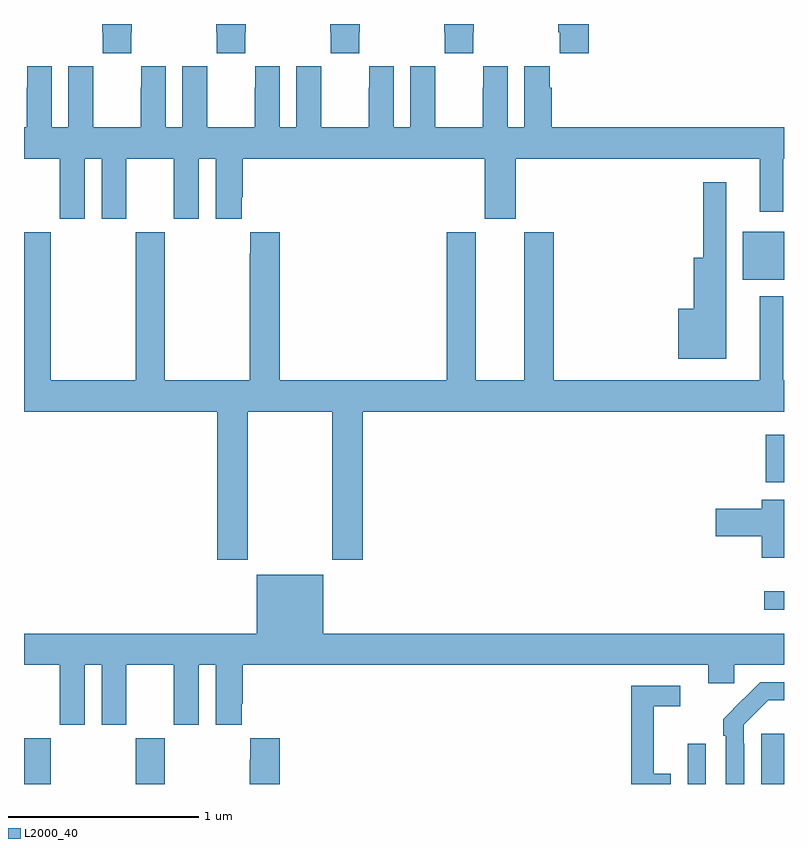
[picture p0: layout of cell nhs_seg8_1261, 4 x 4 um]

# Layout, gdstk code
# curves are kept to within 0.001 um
import gdstk
lib = gdstk.Library(unit=1e-6, precision=1e-09)
def R(c, l, rs):  # rectangles x0, y0, x1, y1
    for r in rs: c.add(gdstk.rectangle(r[:2], r[2:], *l))
def P(c, l, *ps):  # polygons
    for p in ps: c.add(gdstk.Polygon(p, *l))
L2000_40 = (2000, 40)

nhs_seg8_1261 = lib.new_cell('nhs_seg8_1261')
R(nhs_seg8_1261, L2000_40, [(191,1087.9,191.142,1088.14), (191.587,1087.9,191.742,1088.14), (194.493,1087.9,194.589,1088.113), (194.879,1087.9,195,1088.164), (194.895,1088.817,195,1088.914), (194.905,1089.489,195,1089.739), (194.783,1090.553,195,1090.807)])
P(nhs_seg8_1261, L2000_40, [(193.973,1091.9),(193.813,1091.9),(193.813,1091.857),(193.819,1091.857),(193.819,1091.745),(193.973,1091.745)],
  [(191.565,1091.857),(191.568,1091.857),(191.568,1091.9),(191.413,1091.9),(191.413,1091.857),(191.415,1091.857),(191.415,1091.745),(191.565,1091.745)],
  [(192.165,1091.857),(192.168,1091.857),(192.168,1091.9),(192.013,1091.9),(192.013,1091.857),(192.015,1091.857),(192.015,1091.745),(192.165,1091.745)],
  [(192.765,1091.857),(192.768,1091.857),(192.768,1091.9),(192.613,1091.9),(192.613,1091.857),(192.615,1091.857),(192.615,1091.745),(192.765,1091.745)],
  [(193.365,1091.857),(193.368,1091.857),(193.368,1091.9),(193.213,1091.9),(193.213,1091.857),(193.215,1091.857),(193.215,1091.745),(193.365,1091.745)],
  [(191.365,1091.564),(191.364,1091.564),(191.364,1091.677),(191.234,1091.677),(191.234,1091.356),(191.146,1091.356),(191.146,1091.677),(191.016,1091.677),(191.016,1091.564),(191.015,1091.564),(191.015,1091.356),(191,1091.356),(191,1091.192),(191.189,1091.192),(191.189,1090.875),(191.32,1090.875),(191.32,1091.192),(191.408,1091.192),(191.408,1090.875),(191.539,1090.875),(191.539,1091.192),(191.789,1091.192),(191.789,1090.875),(191.92,1090.875),(191.92,1091.192),(192.008,1091.192),(192.008,1090.875),(192.145,1090.875),(192.145,1090.987),(192.152,1090.987),(192.152,1091.192),(193.424,1091.192),(193.424,1090.875),(193.588,1090.875),(193.588,1091.192),(194.873,1091.192),(194.873,1090.911),(194.995,1090.911),(194.995,1091.192),(195,1091.192),(195,1091.356),(193.778,1091.356),(193.778,1091.564),(193.768,1091.564),(193.768,1091.677),(193.634,1091.677),(193.634,1091.356),(193.546,1091.356),(193.546,1091.677),(193.416,1091.677),(193.416,1091.564),(193.415,1091.564),(193.415,1091.356),(193.165,1091.356),(193.165,1091.564),(193.164,1091.564),(193.164,1091.677),(193.034,1091.677),(193.034,1091.356),(192.946,1091.356),(192.946,1091.677),(192.816,1091.677),(192.816,1091.564),(192.815,1091.564),(192.815,1091.356),(192.565,1091.356),(192.565,1091.564),(192.564,1091.564),(192.564,1091.677),(192.434,1091.677),(192.434,1091.356),(192.346,1091.356),(192.346,1091.677),(192.216,1091.677),(192.216,1091.564),(192.215,1091.564),(192.215,1091.356),(191.965,1091.356),(191.965,1091.564),(191.964,1091.564),(191.964,1091.677),(191.834,1091.677),(191.834,1091.356),(191.746,1091.356),(191.746,1091.677),(191.616,1091.677),(191.616,1091.564),(191.615,1091.564),(191.615,1091.356),(191.365,1091.356)],
  [(194.695,1091.068),(194.574,1091.068),(194.574,1090.669),(194.525,1090.669),(194.525,1090.402),(194.444,1090.402),(194.444,1090.139),(194.695,1090.139)],
  [(192.177,1089.86),(192.622,1089.86),(192.622,1089.081),(192.782,1089.081),(192.782,1089.86),(195,1089.86),(195,1090.024),(194.995,1090.024),(194.995,1090.468),(194.873,1090.468),(194.873,1090.024),(193.787,1090.024),(193.787,1090.803),(193.634,1090.803),(193.634,1090.024),(193.378,1090.024),(193.378,1090.803),(193.226,1090.803),(193.226,1090.024),(192.347,1090.024),(192.347,1090.804),(192.191,1090.804),(192.191,1090.691),(192.187,1090.691),(192.187,1090.024),(191.742,1090.024),(191.742,1090.804),(191.587,1090.804),(191.587,1090.024),(191.142,1090.024),(191.142,1090.804),(191,1090.804),(191,1089.86),(192.017,1089.86),(192.017,1089.081),(192.177,1089.081)],
  [(195,1089.397),(194.882,1089.397),(194.882,1089.35),(194.64,1089.35),(194.64,1089.203),(194.882,1089.203),(194.882,1089.092),(195,1089.092)],
  [(191.32,1088.528),(191.408,1088.528),(191.408,1088.211),(191.539,1088.211),(191.539,1088.528),(191.789,1088.528),(191.789,1088.211),(191.92,1088.211),(191.92,1088.528),(192.008,1088.528),(192.008,1088.211),(192.145,1088.211),(192.145,1088.323),(192.152,1088.323),(192.152,1088.528),(194.6,1088.528),(194.6,1088.43),(194.739,1088.43),(194.739,1088.528),(195,1088.528),(195,1088.692),(192.574,1088.692),(192.574,1089.001),(192.224,1089.001),(192.224,1088.692),(191,1088.692),(191,1088.528),(191.189,1088.528),(191.189,1088.211),(191.32,1088.211)],
  [(194.79,1088.111),(194.787,1088.111),(194.787,1088.211),(194.916,1088.34),(195,1088.34),(195,1088.436),(194.876,1088.436),(194.679,1088.241),(194.679,1088.153),(194.694,1088.153),(194.694,1087.9),(194.79,1087.9)],
  [(194.404,1087.954),(194.315,1087.954),(194.315,1088.31),(194.455,1088.31),(194.455,1088.418),(194.197,1088.418),(194.197,1087.9),(194.404,1087.9)],
  [(192.347,1088.14),(192.191,1088.14),(192.191,1088.027),(192.187,1088.027),(192.187,1087.9),(192.347,1087.9)])

lib.write_gds('nhs_seg8_1261.gds')
